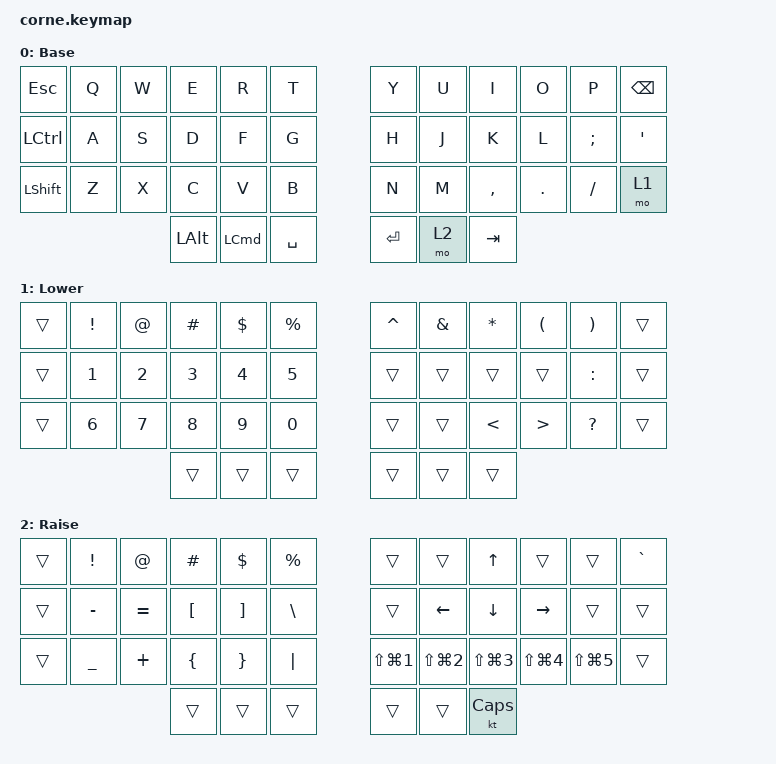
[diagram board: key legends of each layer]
/*
 * Copyright (c) 2020 The ZMK Contributors
 *
 * SPDX-License-Identifier: MIT
 */

#include <behaviors.dtsi>
#include <dt-bindings/zmk/keys.h>

/ {
    keymap {
        compatible = "zmk,keymap";

        base_layer {
            // -----------------------------------------------------------------------------------------
            // |  TAB |  Q  |  W  |  E  |  R  |  T  |   |  Y  |  U   |  I  |  O  |  P  | BKSP |
            // | CTRL |  A  |  S  |  D  |  F  |  G  |   |  H  |  J   |  K  |  L  |  ;  |  '   |
            // | SHFT |  Z  |  X  |  C  |  V  |  B  |   |  N  |  M   |  ,  |  .  |  /  | ESC  |
            //                    | GUI | LWR | SPC |   | ENT | RSE  | ALT |

            display-name = "Base";
            bindings = <
&kp ESCAPE  &kp Q  &kp W  &kp E         &kp R             &kp T        &kp Y      &kp U  &kp I      &kp O    &kp P     &kp BSPC
&kp LCTRL   &kp A  &kp S  &kp D         &kp F             &kp G        &kp H      &kp J  &kp K      &kp L    &kp SEMI  &kp SQT
&kp LSHFT   &kp Z  &kp X  &kp C         &kp V             &kp B        &kp N      &kp M  &kp COMMA  &kp DOT  &kp FSLH  &mo 1
                          &kp LEFT_ALT  &kp LEFT_COMMAND  &kp SPACE    &kp ENTER  &mo 2  &kp TAB
            >;
        };

        lower_layer {
            // -----------------------------------------------------------------------------------------
            // |  TAB |  1  |  2  |  3  |  4  |  5  |   |  6  |  7  |  8  |  9  |  0  | BKSP |
            // | BTCLR| BT1 | BT2 | BT3 | BT4 | BT5 |   | LFT | DWN |  UP | RGT |     |      |
            // | SHFT |     |     |     |     |     |   |     |     |     |     |     |      |
            //                    | GUI |     | SPC |   | ENT |     | ALT |

            display-name = "Lower";
            bindings = <
&trans  &kp EXCLAMATION  &kp AT_SIGN  &kp POUND  &kp DOLLAR  &kp PERCENT    &kp CARET  &kp AMPERSAND  &kp ASTERISK   &kp LEFT_PARENTHESIS  &kp RIGHT_PARENTHESIS  &trans
&trans  &kp N1           &kp N2       &kp N3     &kp N4      &kp N5         &trans     &trans         &trans         &trans                &kp COLON              &trans
&trans  &kp N6           &kp N7       &kp N8     &kp N9      &kp N0         &trans     &trans         &kp LESS_THAN  &kp GREATER_THAN      &kp QUESTION           &trans
                                      &trans     &trans      &trans         &trans     &trans         &trans
            >;
        };

        raise_layer {
            // -----------------------------------------------------------------------------------------
            // |  TAB |  !  |  @  |  #  |  $  |  %  |   |  ^  |  &  |  *  |  (  |  )  | BKSP |
            // | CTRL |     |     |     |     |     |   |  -  |  =  |  [  |  ]  |  \  |  `   |
            // | SHFT |     |     |     |     |     |   |  _  |  +  |  {  |  }  | "|" |  ~   |
            //                    | GUI |     | SPC |   | ENT |     | ALT |

            display-name = "Raise";
            bindings = <
&trans  &kp EXCL        &kp AT     &kp HASH          &kp DLLR           &kp PRCNT        &trans          &trans          &kp UP          &trans          &trans          &kp GRAVE
&trans  &kp MINUS       &kp EQUAL  &kp LEFT_BRACKET  &kp RIGHT_BRACKET  &kp BACKSLASH    &trans          &kp LEFT        &kp DOWN        &kp RIGHT       &trans          &trans
&trans  &kp UNDERSCORE  &kp PLUS   &kp LEFT_BRACE    &kp RIGHT_BRACE    &kp PIPE         &kp LS(LG(N1))  &kp LS(LG(N2))  &kp LS(LG(N3))  &kp LS(LG(N4))  &kp LS(LG(N5))  &trans
                                   &trans            &trans             &trans           &trans          &trans          &kt CAPSLOCK
            >;
        };
    };
};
